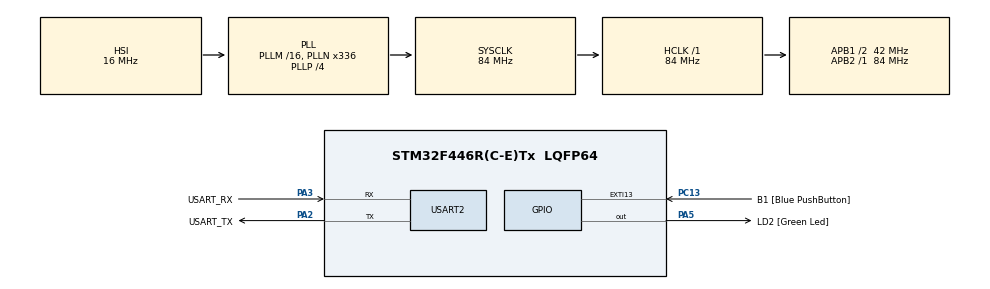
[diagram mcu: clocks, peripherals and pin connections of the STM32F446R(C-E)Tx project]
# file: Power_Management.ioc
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Mcu.Family=STM32F4
Mcu.Name=STM32F446R(C-E)Tx
Mcu.Package=LQFP64
NVIC.EXTI15_10_IRQn=true\:0\:0\:false\:false\:true\:true\:true\:true
NVIC.PriorityGroup=NVIC_PRIORITYGROUP_0
PA13.GPIO_Label=TMS
PA13.Signal=SYS_JTMS-SWDIO
PA14.GPIO_Label=TCK
PA14.Signal=SYS_JTCK-SWCLK
PA2.GPIO_Label=USART_TX
PA2.Mode=Asynchronous
PA2.Signal=USART2_TX
PA3.GPIO_Label=USART_RX
PA3.Mode=Asynchronous
PA3.Signal=USART2_RX
PA5.GPIO_Label=LD2 [Green Led]
PA5.Signal=GPIO_Output
PB3.GPIO_Label=SWO
PB3.Signal=SYS_JTDO-SWO
PC13.GPIO_Label=B1 [Blue PushButton]
PC13.GPIO_ModeDefaultEXTI=GPIO_MODE_IT_RISING
PC13.Signal=GPXTI13
PC14-OSC32_IN.Signal=RCC_OSC32_IN
PC15-OSC32_OUT.Signal=RCC_OSC32_OUT
PH0-OSC_IN.Signal=RCC_OSC_IN
PH1-OSC_OUT.Signal=RCC_OSC_OUT
ProjectManager.HeapSize=0x200
ProjectManager.StackSize=0x400
ProjectManager.TargetToolchain=STM32CubeIDE
RCC.AHBFreq_Value=84000000
RCC.APB1CLKDivider=RCC_HCLK_DIV2
RCC.APB1Freq_Value=42000000
RCC.APB1TimFreq_Value=84000000
RCC.APB2Freq_Value=84000000
RCC.APB2TimFreq_Value=84000000
RCC.CortexFreq_Value=84000000
RCC.FLatency-AdvancedSettings=FLASH_LATENCY_2
RCC.HCLKFreq_Value=84000000
RCC.HSE_VALUE=8000000
RCC.HSI_VALUE=16000000
RCC.LSE_VALUE=32768
RCC.PLLN=336
RCC.PLLP=RCC_PLLP_DIV4
RCC.SYSCLKFreq_VALUE=84000000
RCC.SYSCLKSource=RCC_SYSCLKSOURCE_PLLCLK
RCC.USBFreq_Value=168000000
RCC.VCOOutputFreq_Value=336000000
USART2.VirtualMode=VM_ASYNC
board=NUCLEO-F446RE

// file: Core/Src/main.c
/* USER CODE BEGIN Header */
/**
  ******************************************************************************
  * @file           : main.c
  * @brief          : Main program body
  ******************************************************************************
  * @attention
  *
  * Copyright (c) 2026 STMicroelectronics.
  * All rights reserved.
  *
  * This software is licensed under terms that can be found in the LICENSE file
  * in the root directory of this software component.
  * If no LICENSE file comes with this software, it is provided AS-IS.
  *
  ******************************************************************************
  */
/* USER CODE END Header */
#include "main.h"
#include <string.h>
#include <stdio.h>

UART_HandleTypeDef huart2;

void SystemClock_Config(void);
static void MX_GPIO_Init(void);
static void MX_USART2_UART_Init(void);
void GPIODeInit(void);
void SleepMode(void);
void StopMode(void);
void StandbyMode(void);
void Default(void);

char msg[50] = {};
int main(void)
{

  /* MCU Configuration--------------------------------------------------------*/

  /* Reset of all peripherals, Initializes the Flash interface and the Systick. */
  HAL_Init();

  /* Configure the system clock */
  SystemClock_Config();

  /* Initialize all configured peripherals */
  MX_GPIO_Init();
  MX_USART2_UART_Init();

  /* USER CODE BEGIN 2 */

  //Checking wake up from standby mode
	HAL_GPIO_WritePin(GPIOA, GPIO_PIN_5, GPIO_PIN_SET);
	snprintf(msg, sizeof(msg), "\x1B[1;1H\x1B[2J""We're in running mode.\r\n");
	HAL_UART_Transmit(&huart2, (uint8_t*) msg, strlen(msg), HAL_MAX_DELAY);
	HAL_Delay(2000);

    uint8_t choice = 0;
	char instruction[] = "Give me your choice:\r\n"
			           	 "Sleep mode: 1\r\n"
						 "Stop mode: 2\r\n"
						 "Standby mode: 3\r\n";

  HAL_UART_Transmit(&huart2, (uint8_t*)instruction, strlen(instruction), HAL_MAX_DELAY);

  if(__HAL_PWR_GET_FLAG(PWR_FLAG_SB))
  {
	  snprintf(msg, sizeof(msg), "Remember that I just wake up from Standby mode\r\n");
	  HAL_UART_Transmit(&huart2, (uint8_t*)msg, strlen(msg), HAL_MAX_DELAY);

	  __HAL_PWR_CLEAR_FLAG(PWR_FLAG_SB | PWR_FLAG_WU);
	  HAL_Delay(2000);
  }

  //Show your choice on the display
  HAL_UART_Receive(&huart2, &choice, 1, HAL_MAX_DELAY);
  snprintf(msg, sizeof(msg), "Your choice is: %d\r\n", choice-48);
  HAL_UART_Transmit(&huart2, (uint8_t*)msg, strlen(msg), HAL_MAX_DELAY);

  //Result from the choice
  switch(choice-48)
  {
  case 1: SleepMode(); break;
  case 2: StopMode(); break;
  case 3: StandbyMode(); break;
  default: Default();
  }

  /* USER CODE END 2 */

  /* Infinite loop */
  while (1)
  {
	  HAL_GPIO_TogglePin(GPIOA, GPIO_PIN_5);
	  HAL_Delay(500);

  }
}

void SystemClock_Config(void)
{
  RCC_OscInitTypeDef RCC_OscInitStruct = {0};
  RCC_ClkInitTypeDef RCC_ClkInitStruct = {0};

  /** Configure the main internal regulator output voltage
  */
  __HAL_RCC_PWR_CLK_ENABLE();
  __HAL_PWR_VOLTAGESCALING_CONFIG(PWR_REGULATOR_VOLTAGE_SCALE3);

  /** Initializes the RCC Oscillators according to the specified parameters
  * in the RCC_OscInitTypeDef structure.
  */
  RCC_OscInitStruct.OscillatorType = RCC_OSCILLATORTYPE_HSI;
  RCC_OscInitStruct.HSIState = RCC_HSI_ON;
  RCC_OscInitStruct.HSICalibrationValue = RCC_HSICALIBRATION_DEFAULT;
  RCC_OscInitStruct.PLL.PLLState = RCC_PLL_ON;
  RCC_OscInitStruct.PLL.PLLSource = RCC_PLLSOURCE_HSI;
  RCC_OscInitStruct.PLL.PLLM = 16;
  RCC_OscInitStruct.PLL.PLLN = 336;
  RCC_OscInitStruct.PLL.PLLP = RCC_PLLP_DIV4;
  RCC_OscInitStruct.PLL.PLLQ = 2;
  RCC_OscInitStruct.PLL.PLLR = 2;
  if (HAL_RCC_OscConfig(&RCC_OscInitStruct) != HAL_OK)
  {
    Error_Handler();
  }

  /** Initializes the CPU, AHB and APB buses clocks
  */
  RCC_ClkInitStruct.ClockType = RCC_CLOCKTYPE_HCLK|RCC_CLOCKTYPE_SYSCLK
                              |RCC_CLOCKTYPE_PCLK1|RCC_CLOCKTYPE_PCLK2;
  RCC_ClkInitStruct.SYSCLKSource = RCC_SYSCLKSOURCE_PLLCLK;
  RCC_ClkInitStruct.AHBCLKDivider = RCC_SYSCLK_DIV1;
  RCC_ClkInitStruct.APB1CLKDivider = RCC_HCLK_DIV2;
  RCC_ClkInitStruct.APB2CLKDivider = RCC_HCLK_DIV1;

  if (HAL_RCC_ClockConfig(&RCC_ClkInitStruct, FLASH_LATENCY_2) != HAL_OK)
  {
    Error_Handler();
  }
}

static void MX_USART2_UART_Init(void)
{

  huart2.Instance = USART2;
  huart2.Init.BaudRate = 115200;
  huart2.Init.WordLength = UART_WORDLENGTH_8B;
  huart2.Init.StopBits = UART_STOPBITS_1;
  huart2.Init.Parity = UART_PARITY_NONE;
  huart2.Init.Mode = UART_MODE_TX_RX;
  huart2.Init.HwFlowCtl = UART_HWCONTROL_NONE;
  huart2.Init.OverSampling = UART_OVERSAMPLING_16;
  if (HAL_UART_Init(&huart2) != HAL_OK)
  {
    Error_Handler();
  }

}

static void MX_GPIO_Init(void)
{
  GPIO_InitTypeDef GPIO_InitStruct = {0};

  /* GPIO Ports Clock Enable */
  __HAL_RCC_GPIOC_CLK_ENABLE();
  __HAL_RCC_GPIOH_CLK_ENABLE();
  __HAL_RCC_GPIOA_CLK_ENABLE();
  __HAL_RCC_GPIOB_CLK_ENABLE();

  /*Configure GPIO pin Output Level */
  HAL_GPIO_WritePin(LD2_GPIO_Port, LD2_Pin, GPIO_PIN_RESET);

  /*Configure GPIO pin : B1_Pin */
  GPIO_InitStruct.Pin = B1_Pin;
  GPIO_InitStruct.Mode = GPIO_MODE_IT_RISING;
  GPIO_InitStruct.Pull = GPIO_PULLDOWN;
  HAL_GPIO_Init(B1_GPIO_Port, &GPIO_InitStruct);

  /*Configure GPIO pin : LD2_Pin */
  GPIO_InitStruct.Pin = LD2_Pin;
  GPIO_InitStruct.Mode = GPIO_MODE_OUTPUT_PP;
  GPIO_InitStruct.Pull = GPIO_NOPULL;
  GPIO_InitStruct.Speed = GPIO_SPEED_FREQ_LOW;
  HAL_GPIO_Init(LD2_GPIO_Port, &GPIO_InitStruct);

  /* EXTI interrupt init*/
  HAL_NVIC_SetPriority(EXTI15_10_IRQn, 0, 0);
  HAL_NVIC_EnableIRQ(EXTI15_10_IRQn);

}

/* USER CODE BEGIN 4 */
//DeInit GPIO
void GPIODeInit(void)
{
	//Enable Clock
	__HAL_RCC_GPIOA_CLK_ENABLE();
	__HAL_RCC_GPIOB_CLK_ENABLE();
	__HAL_RCC_GPIOC_CLK_ENABLE();

	GPIO_InitTypeDef GPIO_InitStruct = {0};

	GPIO_InitStruct.Pin = GPIO_PIN_All;
	GPIO_InitStruct.Mode = GPIO_MODE_ANALOG;
	GPIO_InitStruct.Pull = GPIO_NOPULL;
	GPIO_InitStruct.Speed = GPIO_SPEED_FREQ_HIGH;

	HAL_GPIO_Init(GPIOA, &GPIO_InitStruct);
	HAL_GPIO_Init(GPIOB, &GPIO_InitStruct);
	HAL_GPIO_Init(GPIOC, &GPIO_InitStruct);

	//Disable Clock
	__HAL_RCC_GPIOA_CLK_DISABLE();
	__HAL_RCC_GPIOB_CLK_DISABLE();
	__HAL_RCC_GPIOC_CLK_DISABLE();
}
//SLEEPMODE
void SleepMode(void)
{
	snprintf(msg, sizeof(msg), "Enter sleep mode.\r\n");
	HAL_UART_Transmit(&huart2, (uint8_t*) msg, strlen(msg), HAL_MAX_DELAY);
	GPIODeInit();
	__HAL_RCC_GPIOC_CLK_ENABLE();

	GPIO_InitTypeDef GPIO_InitStruct = {0};
	/*Configure GPIO pin : B1_Pin */
	  GPIO_InitStruct.Pin = B1_Pin;
	  GPIO_InitStruct.Mode = GPIO_MODE_IT_RISING;
	  GPIO_InitStruct.Pull = GPIO_PULLDOWN;
	  HAL_GPIO_Init(B1_GPIO_Port, &GPIO_InitStruct);

	 HAL_SuspendTick();

	 HAL_UART_DeInit(&huart2);

	 __HAL_RCC_PWR_CLK_ENABLE();

	 HAL_PWR_EnterSLEEPMode(PWR_MAINREGULATOR_ON, PWR_SLEEPENTRY_WFI);

	 HAL_ResumeTick();

	 MX_GPIO_Init();
	 MX_USART2_UART_Init();

	 snprintf(msg, sizeof(msg), "We exited sleep mode.\r\n");
	 HAL_UART_Transmit(&huart2, (uint8_t*)msg, strlen(msg), HAL_MAX_DELAY);
	 HAL_Delay(2000);

}

//STOP MODE
void StopMode(void)
{
	snprintf(msg, sizeof(msg), "Enter stop mode.\r\n");
	HAL_UART_Transmit(&huart2, (uint8_t*) msg, strlen(msg), HAL_MAX_DELAY);
	GPIODeInit();
	__HAL_RCC_GPIOC_CLK_ENABLE();

	GPIO_InitTypeDef GPIO_InitStruct = { 0 };
	/*Configure GPIO pin : B1_Pin */
	GPIO_InitStruct.Pin = B1_Pin;
	GPIO_InitStruct.Mode = GPIO_MODE_IT_RISING;
	GPIO_InitStruct.Pull = GPIO_PULLDOWN;
	HAL_GPIO_Init(B1_GPIO_Port, &GPIO_InitStruct);

	HAL_SuspendTick();

	HAL_UART_DeInit(&huart2);

	__HAL_RCC_PWR_CLK_ENABLE();

	HAL_PWR_EnterSTOPMode(PWR_LOWPOWERREGULATOR_ON, PWR_SLEEPENTRY_WFI);

	SystemClock_Config();

	HAL_ResumeTick();

	MX_GPIO_Init();
	MX_USART2_UART_Init();

	snprintf(msg, sizeof(msg), "We exited stop mode.\r\n");
	HAL_UART_Transmit(&huart2, (uint8_t*) msg, strlen(msg), HAL_MAX_DELAY);
	HAL_Delay(2000);
}

//STANDBY MODE
void StandbyMode(void)
{
	snprintf(msg, sizeof(msg), "Enter standby mode.\r\n");
	HAL_UART_Transmit(&huart2, (uint8_t*) msg, strlen(msg), HAL_MAX_DELAY);
	GPIODeInit();
	__HAL_RCC_PWR_CLK_ENABLE();

	HAL_PWR_DisableWakeUpPin(PWR_WAKEUP_PIN1);
	__HAL_PWR_CLEAR_FLAG(PWR_FLAG_WU);
	HAL_PWR_EnableWakeUpPin(PWR_WAKEUP_PIN1);

	HAL_PWR_EnterSTANDBYMode();
}

//DEFAULT
void Default(void)
{
	snprintf(msg, sizeof(msg), "You haven't give any choice :).\r\n");
	HAL_UART_Transmit(&huart2, (uint8_t*) msg, strlen(msg), HAL_MAX_DELAY);
	HAL_Delay(2000);
}

/* USER CODE END 4 */

void Error_Handler(void)
{
  __disable_irq();
  while (1)
  {
  }
}
